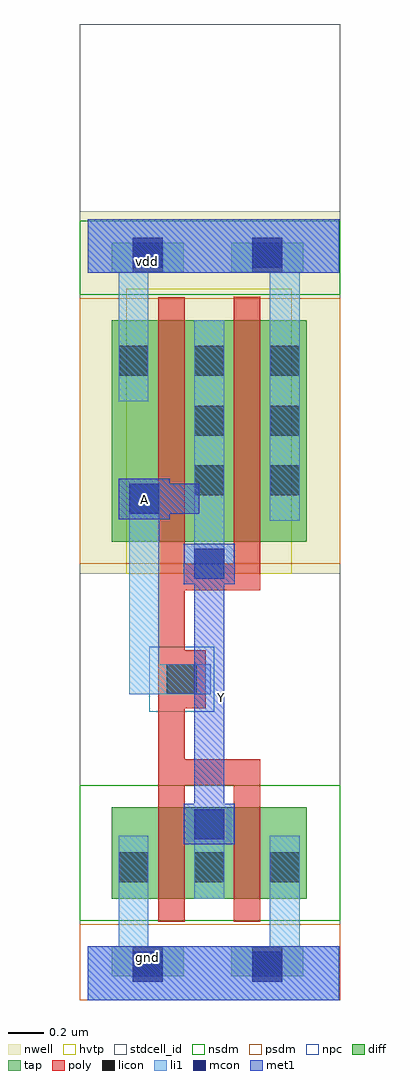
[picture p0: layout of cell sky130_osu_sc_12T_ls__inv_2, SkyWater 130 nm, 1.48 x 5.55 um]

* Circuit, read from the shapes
.subckt sky130_osu_sc_12T_ls__inv_2 A Y gnd vdd
XM1 Y A gnd gnd sky130_fd_pr__nfet_01v8 w=0.52 l=0.15 m=2
XM2 Y A vdd vdd sky130_fd_pr__pfet_01v8_hvt w=1.26 l=0.15 m=2
.ends

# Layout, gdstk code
import gdstk
lib = gdstk.Library(unit=1e-6, precision=1e-09)
def R(c, l, rs):  # rectangles x0, y0, x1, y1
    for r in rs: c.add(gdstk.rectangle(r[:2], r[2:], *l))
def A(c, l, x, y, w, h, nx, ny, dx, dy):  # array of equal rectangles
    R(c, l, [(x+i*dx, y+j*dy, x+i*dx+w, y+j*dy+h) for i in range(nx) for j in range(ny)])
nwell = (64, 20)
diff = (65, 20)
tap = (65, 44)
poly = (66, 20)
licon = (66, 44)
li1 = (67, 20)
mcon = (67, 44)
met1 = (68, 20)
hvtp = (78, 44)
stdcell_id = (81, 4)
nsdm = (93, 44)
psdm = (94, 20)
npc = (95, 20)

sky130_osu_sc_12t_ls__in = lib.new_cell('sky130_osu_sc_12T_ls__inv_2')
R(sky130_osu_sc_12t_ls__in, nwell, [(-0.045,2.425,1.435,4.485)])
R(sky130_osu_sc_12t_ls__in, diff, [(0.135,0.575,1.245,1.095), (0.135,2.605,1.245,3.865)])
R(sky130_osu_sc_12t_ls__in, tap, [(0.135,0.135,0.545,0.305), (0.815,0.135,1.225,0.305), (0.135,4.135,0.545,4.305), (0.815,4.135,1.225,4.305)])
R(sky130_osu_sc_12t_ls__in, poly, [(0.4,0.445,0.55,1.22), (0.83,0.445,0.98,1.22), (0.4,1.22,0.98,1.37), (0.4,1.37,0.55,1.66), (0.4,1.66,0.67,1.99), (0.4,1.99,0.55,2.33), (0.4,2.33,0.98,2.48), (0.4,2.48,0.55,3.995), (0.83,2.48,0.98,4)])
A(sky130_osu_sc_12t_ls__in, licon, 0.175, 0.67, 0.17, 0.17, 3, 2, 0.43, 2.88)
R(sky130_osu_sc_12t_ls__in, licon, [(0.255,0.135,0.425,0.305), (0.935,0.135,1.105,0.305), (0.45,1.74,0.62,1.91), (0.605,2.87,0.775,3.04), (1.035,2.87,1.205,3.04), (0.605,3.21,0.775,3.38), (1.035,3.21,1.205,3.38), (0.255,4.135,0.425,4.305), (0.935,4.135,1.105,4.305)])
R(sky130_osu_sc_12t_ls__in, li1, [(0,0,1.43,0.305), (0.175,0.305,0.345,0.935), (1.035,0.305,1.205,0.935), (0.605,0.575,0.775,1.085), (0.235,1.74,0.7,1.91), (0.235,1.91,0.405,2.935), (0.605,2.395,0.775,3.865), (1.035,2.725,1.205,4.135), (0.175,3.405,0.345,4.135), (0,4.135,1.43,4.44)])
R(sky130_osu_sc_12t_ls__in, mcon, [(0.255,0.105,0.425,0.275), (0.935,0.105,1.105,0.275), (0.605,0.915,0.775,1.085), (0.605,2.395,0.775,2.565), (0.235,2.765,0.405,2.935), (0.255,4.165,0.425,4.335), (0.935,4.165,1.105,4.335)])
R(sky130_osu_sc_12t_ls__in, met1, [(0,0,1.43,0.305), (0.545,0.885,0.835,1.115), (0.605,1.115,0.775,2.365), (0.545,2.365,0.835,2.595), (0.175,2.735,0.465,2.765), (0.175,2.765,0.635,2.935), (0.175,2.935,0.465,2.965), (0,4.135,1.43,4.44)])
R(sky130_osu_sc_12t_ls__in, hvtp, [(0.22,2.425,1.16,4.045)])
R(sky130_osu_sc_12t_ls__in, stdcell_id, [(-0.045,0,1.435,5.55)])
R(sky130_osu_sc_12t_ls__in, nsdm, [(-0.045,0.45,1.435,1.22), (-0.045,4.01,1.435,4.43)])
R(sky130_osu_sc_12t_ls__in, psdm, [(-0.045,0,1.435,0.43), (-0.045,2.48,1.435,3.99)])
R(sky130_osu_sc_12t_ls__in, npc, [(0.35,1.64,0.72,2.01)])
sky130_osu_sc_12t_ls__in.add(gdstk.Label('gnd', (0.34,0.24), layer=68, texttype=16))
sky130_osu_sc_12t_ls__in.add(gdstk.Label('vdd', (0.34,4.2), layer=68, texttype=16))
sky130_osu_sc_12t_ls__in.add(gdstk.Label('Y', (0.76,1.72), layer=68, texttype=5))
sky130_osu_sc_12t_ls__in.add(gdstk.Label('A', (0.32,2.845), layer=68, texttype=5))

lib.write_gds('sky130_osu_sc_12T_ls__inv_2.gds')
